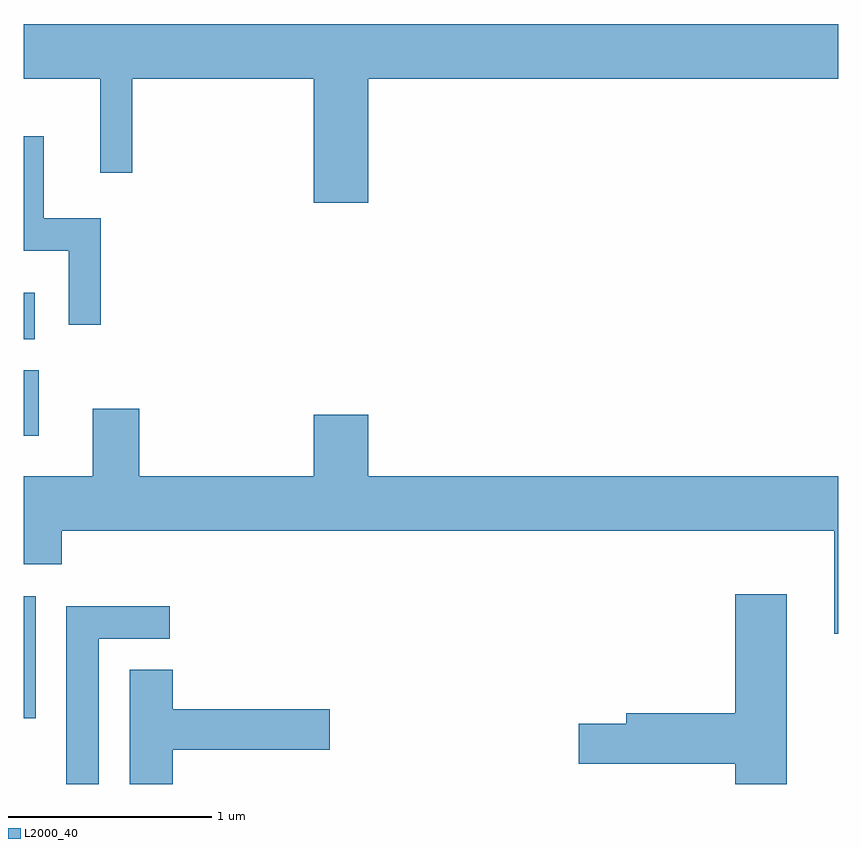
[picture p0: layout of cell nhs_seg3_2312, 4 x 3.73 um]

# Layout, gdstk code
import gdstk
lib = gdstk.Library(unit=1e-6, precision=1e-09)
def R(c, l, rs):  # rectangles x0, y0, x1, y1
    for r in rs: c.add(gdstk.rectangle(r[:2], r[2:], *l))
def P(c, l, *ps):  # polygons
    for p in ps: c.add(gdstk.Polygon(p, *l))
L2000_40 = (2000, 40)

nhs_seg3_2312 = lib.new_cell('nhs_seg3_2312')
R(nhs_seg3_2312, L2000_40, [(253.611,1116.216,253.669,1116.814), (253.611,1117.603,253.684,1117.924), (253.611,1118.076,253.664,1118.304)])
P(nhs_seg3_2312, L2000_40, [(255.304,1119.356),(257.611,1119.356),(257.611,1119.624),(253.611,1119.624),(253.611,1119.356),(253.986,1119.356),(253.986,1118.893),(254.144,1118.893),(254.144,1119.356),(255.036,1119.356),(255.036,1118.746),(255.304,1118.746)],
  [(253.989,1118.669),(253.709,1118.669),(253.709,1119.074),(253.611,1119.074),(253.611,1118.511),(253.831,1118.511),(253.831,1118.148),(253.989,1118.148)],
  [(255.036,1117.704),(255.036,1117.404),(254.179,1117.404),(254.179,1117.734),(253.951,1117.734),(253.951,1117.404),(253.611,1117.404),(253.611,1116.971),(253.799,1116.971),(253.799,1117.136),(257.591,1117.136),(257.591,1116.631),(257.611,1116.631),(257.611,1117.404),(255.304,1117.404),(255.304,1117.704)],
  [(257.359,1116.824),(257.106,1116.824),(257.106,1116.239),(256.571,1116.239),(256.571,1116.189),(256.336,1116.189),(256.336,1115.991),(257.106,1115.991),(257.106,1115.892),(257.359,1115.892)],
  [(253.979,1116.606),(254.328,1116.606),(254.328,1116.764),(253.821,1116.764),(253.821,1115.892),(253.979,1115.892)],
  [(254.344,1116.061),(255.114,1116.061),(255.114,1116.259),(254.344,1116.259),(254.344,1116.454),(254.131,1116.454),(254.131,1115.892),(254.344,1115.892)])

lib.write_gds('nhs_seg3_2312.gds')
